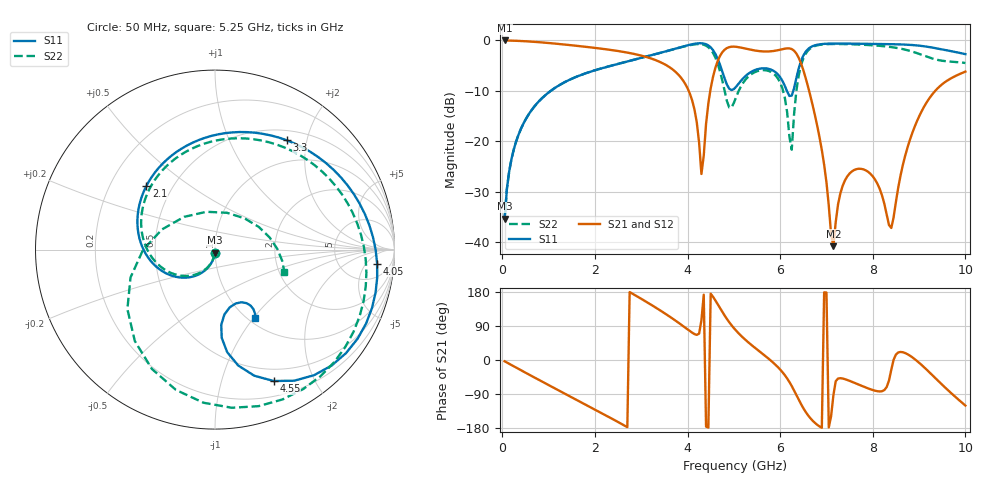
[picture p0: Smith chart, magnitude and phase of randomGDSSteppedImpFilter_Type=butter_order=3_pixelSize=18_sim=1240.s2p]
! freq	dB(S11)	phase(S11)	dB(S12)	phase(S12)
!  dB(S21)	phase(S21)	dB(S22)	phase(S22)
!S-par simulation data
#  GHz  S  DB  R 50
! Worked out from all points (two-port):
!   200 points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, 50 MHz to 10 GHz, reference 50 ohm
!   highest |S21| = -0.01 dB at 50 MHz (marker M1); lowest = -40.8 dB at 7.15 GHz (marker M2)
!   |S21| within 3 dB of the highest: start of sweep to 2.997 GHz; 4.706 GHz to 6.375 GHz (1.669 GHz wide, 30.1 % of centre)
!   lowest |S11| = -35.4 dB at 50 MHz (marker M3), VSWR 1.03, Z = 49.9 - j1.7 ohm
!   |S11| at or under -10 dB: start of sweep to 1.048 GHz; 6.145 GHz to 6.283 GHz (138.6 MHz wide, 2.23 % of centre)
!   |S22| runs from -35.4 to -0.7 dB; largest |S21 - S12| = 0
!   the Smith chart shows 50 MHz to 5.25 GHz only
!   S11 on the Smith chart (normalised r, x): 50 MHz: 1.00, -0.03; 2.1 GHz: 0.36, +0.35; 3.3 GHz: 0.64, +1.67; 4.05 GHz: 12, -10; 4.55 GHz: 0.36, -1.48; 5.25 GHz: 1.08, -1.02
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0.05  -35.38 -92.8  -0.01 -3.4  -0.01 -3.4  -35.38 -93.0
0.5  -15.75 -122.7  -0.17 -33.4  -0.17 -33.4  -15.75 -125.0
1.75  -6.69 159.0  -1.22 -114.4  -1.22 -114.4  -6.68 150.7
2.1  -5.66 137.2  -1.59 -137.1  -1.59 -137.1  -5.65 127.1
3.3  -2.75 56.7  -3.87 139.3  -3.87 139.3  -2.76 40.1
3.4  -2.50 49.3  -4.25 131.6  -4.25 131.6  -2.51 31.9
4.05  -0.85 -4.9  -10.55 76.5  -10.55 76.5  -0.94 -30.6
4.3  -0.57 -32.0  -26.52 104.9  -26.52 104.9  -0.77 -65.7
4.55  -1.92 -65.9  -7.25 166.8  -7.25 166.8  -2.47 -117.9
5.05  -9.19 -59.4  -1.27 77.3  -1.27 77.3  -11.22 27.4
5.25  -7.09 -59.5  -1.62 53.2  -1.62 53.2  -7.80 -18.1
5.95  -6.73 -100.4  -1.95 -18.7  -1.95 -18.7  -7.53 -108.5
6.25  -10.96 -76.5  -1.72 -68.6  -1.72 -68.6  -21.70 92.1
6.45  -4.10 -65.9  -4.54 -116.1  -4.54 -116.1  -4.95 -15.9
6.7  -1.14 -95.7  -12.80 -159.9  -12.80 -159.9  -1.32 -67.0
7.15  -0.63 -130.8  -40.85 -92.7  -40.85 -92.7  -0.71 -114.9
7.6  -0.64 -156.4  -25.72 -60.0  -25.72 -60.0  -0.79 -149.4
8.35  -0.74 163.8  -36.65 -54.2  -36.65 -54.2  -1.27 147.5
8.85  -0.91 135.4  -18.46 7.4  -18.46 7.4  -2.21 83.2
9.25  -1.36 111.1  -11.13 -35.6  -11.13 -35.6  -3.49 8.0
9.6  -1.97 90.2  -8.02 -77.0  -8.02 -77.0  -4.15 -63.1
10  -2.73 66.5  -6.19 -120.2  -6.19 -120.2  -4.48 -130.7
